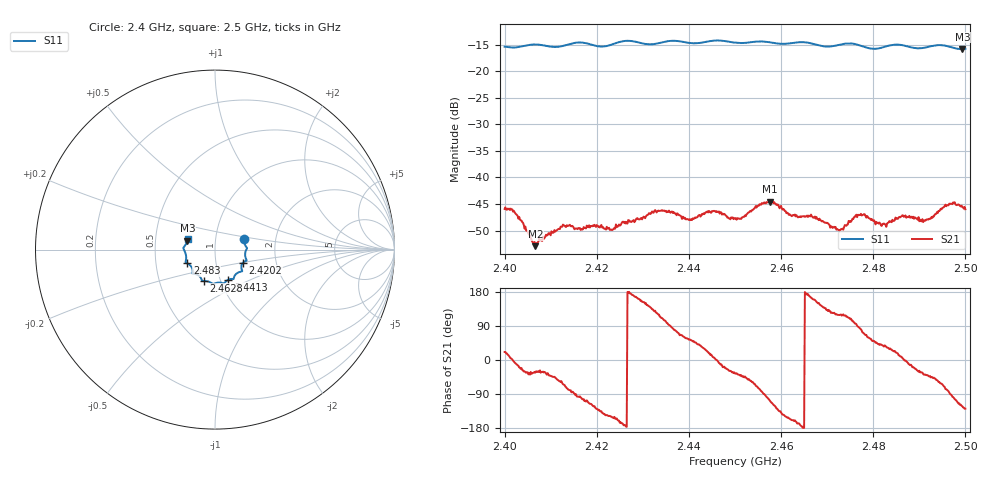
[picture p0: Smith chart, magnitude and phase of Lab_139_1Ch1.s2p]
# Hz S RI R 50
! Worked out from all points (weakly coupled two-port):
!   601 points, 2.4 GHz to 2.5 GHz, reference 50 ohm
!   highest |S21| = -44.56 dB at 2.4575 GHz (marker M1); lowest = -52.9 dB at 2.4067 GHz (marker M2)
!   lowest |S11| = -15.8 dB at 2.4993 GHz (marker M3), VSWR 1.39, Z = 36.5 + j3.72 ohm
!   |S11| at or under -10 dB: start of sweep to end of sweep
!   S12 and S22 are empty: the file has one direction only
!   S11 on the Smith chart (normalised r, x): 2.4 GHz: 1.37, +0.16; 2.4202 GHz: 1.35, -0.20; 2.4413 GHz: 1.09, -0.38; 2.4628 GHz: 0.83, -0.30; 2.483 GHz: 0.72, -0.11; 2.5 GHz: 0.73, +0.09
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2.4e9  0.1606 0.0574  0.0047 0.00183  0 0  0 0
2.402167e9  0.1642 0.0337  0.00469 -0.00054  0 0  0 0
2.406667e9  0.1785 0.00834  0.00188 -0.00124  0 0  0 0
2.412667e9  0.169 -0.0392  0.00158 -0.00323  0 0  0 0
2.416667e9  0.1761 -0.0613  -0.000575 -0.00322  0 0  0 0
2.420167e9  0.1562 -0.0726  -0.00222 -0.0027  0 0  0 0
2.4235e9  0.1472 -0.104  -0.00285 -0.00152  0 0  0 0
2.433333e9  0.1081 -0.1486  -0.00247 0.0042  0 0  0 0
2.441333e9  0.0744 -0.1679  0.00287 0.00306  0 0  0 0
2.4455e9  0.0511 -0.1876  0.00481 0.000494  0 0  0 0
2.45e9  0.0293 -0.1838  0.00333 -0.0024  0 0  0 0
2.4575e9  -0.0195 -0.1869  -0.00163 -0.00568  0 0  0 0
2.462833e9  -0.0631 -0.1748  -0.00415 -0.00143  0 0  0 0
2.466667e9  -0.0742 -0.1674  -0.00412 0.00125  0 0  0 0
2.4725e9  -0.1147 -0.135  -0.00154 0.0028  0 0  0 0
2.477167e9  -0.1244 -0.1233  0.000594 0.0044  0 0  0 0
2.483e9  -0.1548 -0.0767  0.0031 0.00198  0 0  0 0
2.483333e9  -0.1569 -0.0756  0.00321 0.00195  0 0  0 0
2.491333e9  -0.1669 -0.0134  0.00306 -0.00243  0 0  0 0
2.497167e9  -0.1657 0.0247  -0.00066 -0.00556  0 0  0 0
2.499333e9  -0.1541 0.0496  -0.0028 -0.00445  0 0  0 0
2.5e9  -0.1524 0.0584  -0.00311 -0.00392  0 0  0 0
